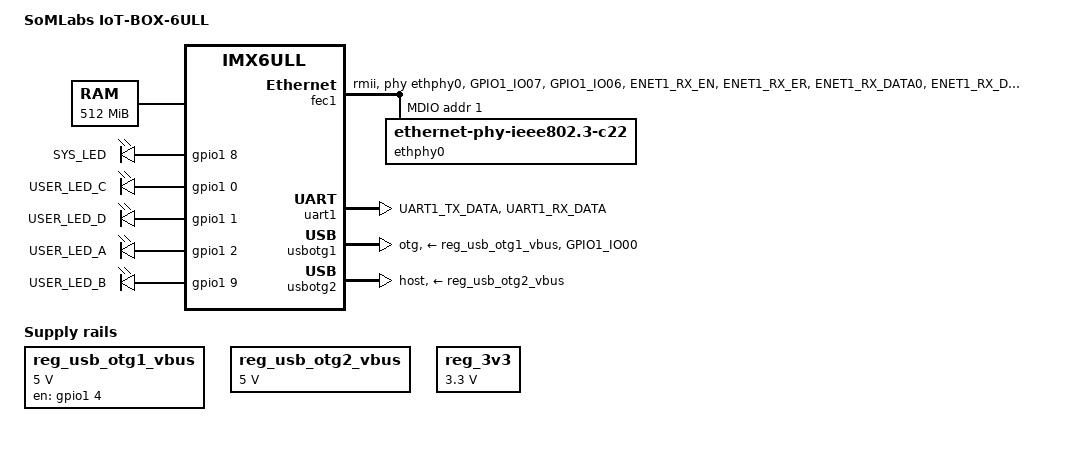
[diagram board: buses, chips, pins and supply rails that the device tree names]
// SPDX-License-Identifier: GPL-2.0+
/*
 * Copyright (C) 2017-2019 SoMLabs
 * Copyright (C) 2016 Freescale Semiconductor, Inc.
 */

/dts-v1/;

#include <dt-bindings/input/input.h>
#include "imx6ull.dtsi"

/ {
	model = "SoMLabs IoT-BOX-6ULL";
	compatible = "fsl,imx6ull";

	chosen {
		stdout-path = &uart1;
	};

	memory {
		reg = <0x80000000 0x20000000>;
	};

	leds {
		compatible = "gpio-leds";

		sys-led {
			label = "SYS_LED";
			gpios = <&gpio1 8 GPIO_ACTIVE_HIGH>;
			linux,default-trigger = "heartbeat";
		};

		user-led-c {
			label = "USER_LED_C";
			gpios = <&gpio1 0 GPIO_ACTIVE_HIGH>;
		};

		user-led-d {
			label = "USER_LED_D";
			gpios = <&gpio1 1 GPIO_ACTIVE_HIGH>;
		};

		user-led-a {
			label = "USER_LED_A";
			gpios = <&gpio1 2 GPIO_ACTIVE_HIGH>;
		};

		user-led-b {
			label = "USER_LED_B";
			gpios = <&gpio1 9 GPIO_ACTIVE_HIGH>;
		};
	};

	regulators {
		reg_usb_otg1_vbus: regulator@1 {
			compatible = "regulator-fixed";
			reg = <0>;
			pinctrl-names = "default";
			pinctrl-0 = <&pinctrl_usb_otg1_vbus_en>;
			regulator-name = "usb_otg1_vbus";
			regulator-min-microvolt = <5000000>;
			regulator-max-microvolt = <5000000>;
			gpio = <&gpio1 4 GPIO_ACTIVE_HIGH>;
			enable-active-high;
		};

		reg_usb_otg2_vbus: regulator@2 {
			compatible = "regulator-fixed";
			reg = <1>;
			regulator-name = "usb_otg2_vbus";
			regulator-min-microvolt = <5000000>;
			regulator-max-microvolt = <5000000>;
		};

		reg_3v3: regulator@3 {
			compatible = "regulator-fixed";
			reg = <2>;
			regulator-name = "3v3";
			regulator-min-microvolt = <3300000>;
			regulator-max-microvolt = <3300000>;
		};
	};
};

&cpu0 {
	arm-supply = <&reg_arm>;
	soc-supply = <&reg_soc>;
};

&fec1 {
	pinctrl-names = "default";
	pinctrl-0 = <&pinctrl_enet1>;
	phy-mode = "rmii";
	phy-handle = <&ethphy0>;
	status = "okay";

	mdio {
		#address-cells = <1>;
		#size-cells = <0>;

		ethphy0: ethernet-phy@1 {
			compatible = "ethernet-phy-ieee802.3-c22";
			reg = <1>;
		};
	};
};

&gpc {
	fsl,cpu_pupscr_sw2iso = <0x1>;
	fsl,cpu_pupscr_sw = <0x0>;
	fsl,cpu_pdnscr_iso2sw = <0x1>;
	fsl,cpu_pdnscr_iso = <0x1>;
	fsl,ldo-bypass = <0>; /* DCDC, ldo-enable */
};

&iomuxc {
	pinctrl-names = "default";
	pinctrl-0 = <&pinctrl_hog_1>;

	pinctrl_enet1: enet1grp {
		fsl,pins = <
			MX6UL_PAD_GPIO1_IO07__ENET1_MDC	 0x1b0b0
			MX6UL_PAD_GPIO1_IO06__ENET1_MDIO	0x1F829
			MX6UL_PAD_ENET1_RX_EN__ENET1_RX_EN      0x1b0b0
			MX6UL_PAD_ENET1_RX_ER__ENET1_RX_ER      0x1b0b0
			MX6UL_PAD_ENET1_RX_DATA0__ENET1_RDATA00 0x1b0b0
			MX6UL_PAD_ENET1_RX_DATA1__ENET1_RDATA01 0x1b0b0
			MX6UL_PAD_ENET1_TX_EN__ENET1_TX_EN      0x1b0b0
			MX6UL_PAD_ENET1_TX_DATA0__ENET1_TDATA00 0x1b0b0
			MX6UL_PAD_ENET1_TX_DATA1__ENET1_TDATA01 0x1b0b0
			MX6UL_PAD_ENET1_TX_CLK__ENET1_REF_CLK1  0x400010a9
			MX6UL_PAD_ENET2_RX_EN__GPIO2_IO10       0x1b0b0
			MX6UL_PAD_LCD_DATA15__GPIO3_IO20	0x1b001
		>;
	};

	pinctrl_hog_1: hoggrp-1 {
		fsl,pins = <
			// LEDs
			MX6UL_PAD_GPIO1_IO00__GPIO1_IO00 0x17099
			MX6UL_PAD_GPIO1_IO01__GPIO1_IO01 0x17099
			MX6UL_PAD_GPIO1_IO02__GPIO1_IO02 0x17099
			MX6UL_PAD_GPIO1_IO08__GPIO1_IO08 0x17099
			MX6UL_PAD_GPIO1_IO09__GPIO1_IO09 0x17099

			// Digital outputs
			MX6UL_PAD_JTAG_TDO__GPIO1_IO12    0x17099
			MX6UL_PAD_JTAG_TCK__GPIO1_IO14    0x17099
			MX6UL_PAD_UART2_CTS_B__GPIO1_IO22 0x17099
			MX6UL_PAD_UART3_CTS_B__GPIO1_IO26 0x17099

			// Digital inputs
			MX6UL_PAD_LCD_RESET__GPIO3_IO04  0x99
			MX6UL_PAD_LCD_DATA00__GPIO3_IO05 0x99
			MX6UL_PAD_LCD_DATA01__GPIO3_IO06 0x99
			MX6UL_PAD_LCD_DATA06__GPIO3_IO11 0x99

			// Relay output
			MX6UL_PAD_JTAG_TMS__GPIO1_IO11    0x17099
			MX6UL_PAD_JTAG_TRST_B__GPIO1_IO15 0x17099
		>;
	};

	pinctrl_uart1: uart1grp {
		fsl,pins = <
			MX6UL_PAD_UART1_TX_DATA__UART1_DCE_TX	0x1b0b1
			MX6UL_PAD_UART1_RX_DATA__UART1_DCE_RX	0x1b0b1
		>;
	};

	pinctrl_usdhc2_8bit: usdhc2grp_8bit {
		fsl,pins = <
			MX6UL_PAD_NAND_RE_B__USDHC2_CLK     0x10069
			MX6UL_PAD_NAND_WE_B__USDHC2_CMD     0x17059
			MX6UL_PAD_NAND_DATA00__USDHC2_DATA0 0x17059
			MX6UL_PAD_NAND_DATA01__USDHC2_DATA1 0x17059
			MX6UL_PAD_NAND_DATA02__USDHC2_DATA2 0x17059
			MX6UL_PAD_NAND_DATA03__USDHC2_DATA3 0x17059
			MX6UL_PAD_NAND_DATA04__USDHC2_DATA4 0x17059
			MX6UL_PAD_NAND_DATA05__USDHC2_DATA5 0x17059
			MX6UL_PAD_NAND_DATA06__USDHC2_DATA6 0x17059
			MX6UL_PAD_NAND_DATA07__USDHC2_DATA7 0x17059
		>;
	};

	pinctrl_usdhc2_8bit_100mhz: usdhc2grp_8bit_100mhz {
		fsl,pins = <
			MX6UL_PAD_NAND_RE_B__USDHC2_CLK     0x100b9
			MX6UL_PAD_NAND_WE_B__USDHC2_CMD     0x170b9
			MX6UL_PAD_NAND_DATA00__USDHC2_DATA0 0x170b9
			MX6UL_PAD_NAND_DATA01__USDHC2_DATA1 0x170b9
			MX6UL_PAD_NAND_DATA02__USDHC2_DATA2 0x170b9
			MX6UL_PAD_NAND_DATA03__USDHC2_DATA3 0x170b9
			MX6UL_PAD_NAND_DATA04__USDHC2_DATA4 0x170b9
			MX6UL_PAD_NAND_DATA05__USDHC2_DATA5 0x170b9
			MX6UL_PAD_NAND_DATA06__USDHC2_DATA6 0x170b9
			MX6UL_PAD_NAND_DATA07__USDHC2_DATA7 0x170b9
		>;
	};

	pinctrl_usdhc2_8bit_200mhz: usdhc2grp_8bit_200mhz {
		fsl,pins = <
			MX6UL_PAD_NAND_RE_B__USDHC2_CLK     0x100f9
			MX6UL_PAD_NAND_WE_B__USDHC2_CMD     0x170f9
			MX6UL_PAD_NAND_DATA00__USDHC2_DATA0 0x170f9
			MX6UL_PAD_NAND_DATA01__USDHC2_DATA1 0x170f9
			MX6UL_PAD_NAND_DATA02__USDHC2_DATA2 0x170f9
			MX6UL_PAD_NAND_DATA03__USDHC2_DATA3 0x170f9
			MX6UL_PAD_NAND_DATA04__USDHC2_DATA4 0x170f9
			MX6UL_PAD_NAND_DATA05__USDHC2_DATA5 0x170f9
			MX6UL_PAD_NAND_DATA06__USDHC2_DATA6 0x170f9
			MX6UL_PAD_NAND_DATA07__USDHC2_DATA7 0x170f9
		>;
	};

	pinctrl_usb_otg1: usbotg1grp {
		fsl,pins = <
			MX6UL_PAD_GPIO1_IO00__ANATOP_OTG1_ID	0x17059
		>;
	};

	pinctrl_usb_otg1_vbus_en: usbotg1vbusengrp {
		fsl,pins = <
			MX6UL_PAD_GPIO1_IO04__GPIO1_IO04 0x10b0
		>;
	};

	pinctrl_wdog: wdoggrp {
		fsl,pins = <
			MX6UL_PAD_ENET2_RX_ER__WDOG1_WDOG_ANY	0x30b0
		>;
	};
};

&uart1 {
	pinctrl-names = "default";
	pinctrl-0 = <&pinctrl_uart1>;
	status = "okay";
};

&usbotg1 {
	vbus-supply = <&reg_usb_otg1_vbus>;
	pinctrl-names = "default";
	pinctrl-0 = <&pinctrl_usb_otg1>;
	dr_mode = "otg";
	status = "okay";
};

&usbotg2 {
	vbus-supply = <&reg_usb_otg2_vbus>;
	dr_mode = "host";
	status = "okay";
};

&usbphy1 {
	tx-d-cal = <0x5>;
};

&usbphy2 {
	tx-d-cal = <0x5>;
};

&usdhc2 {
	pinctrl-names = "default", "state_100mhz", "state_200mhz";
	pinctrl-0 = <&pinctrl_usdhc2_8bit>;
	pinctrl-1 = <&pinctrl_usdhc2_8bit_100mhz>;
	pinctrl-2 = <&pinctrl_usdhc2_8bit_200mhz>;
	bus-width = <8>;
	non-removable;
	status = "disabled";
};

&wdog1 {
	pinctrl-names = "default";
	pinctrl-0 = <&pinctrl_wdog>;
	fsl,wdog_b;
};
